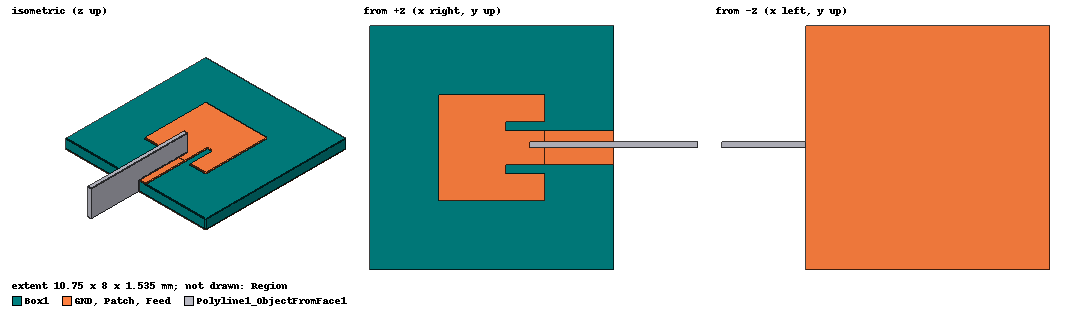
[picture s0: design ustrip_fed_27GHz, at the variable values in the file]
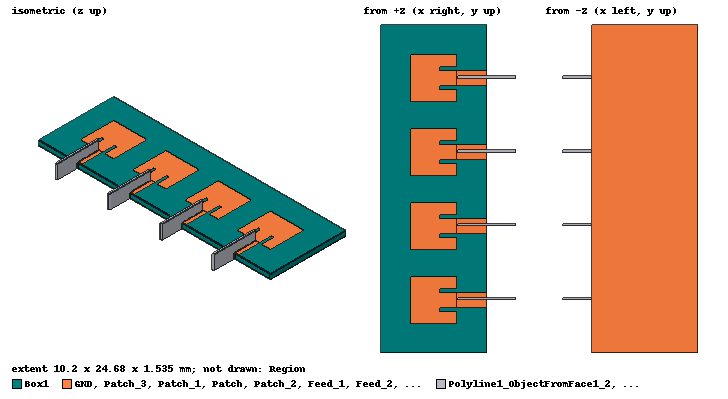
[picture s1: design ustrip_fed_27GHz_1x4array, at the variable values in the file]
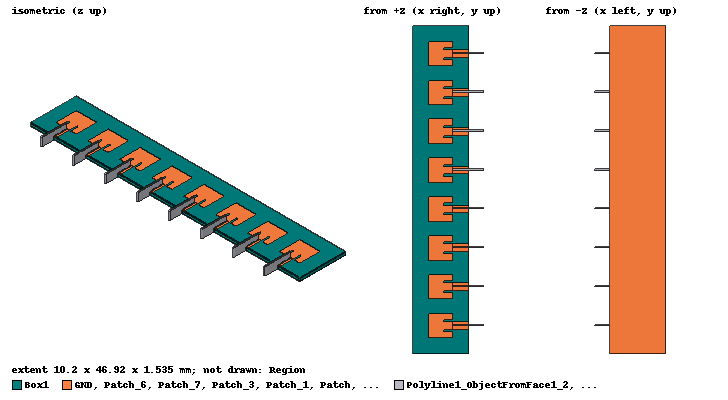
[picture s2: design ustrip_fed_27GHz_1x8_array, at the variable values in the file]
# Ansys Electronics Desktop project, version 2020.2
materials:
  vacuum: permittivity=1
  Rogers RO3003 (tm): permittivity=3 dielectric_loss_tangent=0.0013
  copper: permeability=0.999991 conductivity=58000000
  pec: conductivity=1e+30
  Teflon (tm): permittivity=2.1 dielectric_loss_tangent=0.001
  Rogers RT/duroid 5870 (tm): permittivity=2.33 dielectric_loss_tangent=0.0012

design ustrip_fed_27GHz (HFSS, DrivenModal, model units mm)
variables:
  sub = 8mm
  sub_h = 0.508mm
  patch_x = 3.5mm
  patch_y = 3.5mm
  feed_w = 1.1mm
  slot_x = 1.3mm
  slot_y = 0.3mm
  metal_thickness = 35um
  port_w = feed_w*5
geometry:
  Box1 [Rogers RT/duroid 5870 (tm)] = box(corner=(-sub/2, -sub/2, 0mm), size=(sub, sub, sub_h))
  Patch [copper] = rectangle(corner=(-patch_x/2, -patch_y/2, sub_h), x_size=patch_x, y_size=patch_y)
  Patch.thicken(0.035mm)
  Feed [copper] = polyline((sub/2, 0mm, sub_h) (patch_x/2, 0mm, sub_h), section line width=feed_w)
  Feed.thicken(-0.035mm)
  GND [copper] = box(corner=(-sub/2, -sub/2, 0mm), size=(sub, sub, -0.035mm))
  slot1 = box(corner=(patch_x/2, feed_w/2, sub_h), size=(-slot_x, slot_y, metal_thickness))
  slot2 = box(corner=(patch_x/2, -feed_w/2, sub_h), size=(-slot_x, -slot_y, metal_thickness))
  Patch.subtract(slot1, slot2)
  Polyline1 = polyline((sub/2, 0mm, 0mm) (sub/2, 0mm, 1.5mm), section line width=port_w)
  Region [vacuum] = region(absolute_offset: +X=8mm, -X=8mm, +Y=8mm, -Y=8mm, +Z=8mm, -Z=2mm)
  Polyline1_ObjectFromFace1 [pec] = object_from(Polyline1.face)
  Polyline1_ObjectFromFace1.thicken(-0.2mm)
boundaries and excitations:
  Rad1: Radiation Objects=Region
  1: Wave Port Faces=Polyline1.face NumModes=1 Modes{Mode1{IntLine{middle of Polyline1.edge(at (4, 0, 0)) -> middle of Feed.edge(at (4, 0, 0.543))} CharImp=Zpi}}
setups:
  Setup1: HfssDriven Frequency=27GHz MaxDeltaS=0.015 MaximumPasses=8 MinimumPasses=1 MinimumConvergedPasses=1 PercentRefinement=30 BasisOrder=1 PortAccuracy=2
    sweep Sweep: 24GHz to 30GHz, 251 points; Type=Fast SaveFields
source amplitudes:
  1:1: 1W 0deg
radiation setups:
  Infinite Sphere1: Infinite Sphere Theta=-180deg..180deg step 2deg Phi=-180deg..180deg step 2deg
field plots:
  Mag_Jsurf1: Jsurf over Feed.face(all 6) on Setup1 : LastAdaptive at Freq=27GHz Phase=0deg
  Mag_Jsurf2: Jsurf over Feed.face(at (2.875, 0, 0.543)) Patch.face(at (0, 0, 0.543)) on Setup1 : LastAdaptive at Freq=27GHz Phase=0deg
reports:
  S Parameter Plot 1: dB(S(1,1)) vs Freq on Setup1 : Sweep; markers MX1 at x=2.6417598e+10, MX2 at x=2.7360335e+10
  Gain Plot 1: dB(GainTotal) vs Phi, Theta on Setup1 : LastAdaptive, Infinite Sphere1 [Freq=27GHz]
  Gain Plot 3: dB(GainTotal) vs Theta on Setup1 : LastAdaptive, Infinite Sphere1 [Phi=0deg Freq=27GHz]; dB(GainTotal) vs Theta on Setup1 : LastAdaptive, Infinite Sphere1 [Phi=90deg Freq=27GHz]; markers m1 at 0deg

design ustrip_fed_27GHz_1x4array (HFSS, DrivenModal, model units mm)
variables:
  sub = 8mm
  sub_h = 0.508mm
  patch_x = 3.5mm
  patch_y = 3.5mm
  feed_w = 1.1mm
  slot_x = 1.3mm
  slot_y = 0.3mm
  metal_thickness = 35um
  port_w = feed_w*4
  spacing = 5.56mm
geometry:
  Box1 [Rogers RT/duroid 5870 (tm)] = box(corner=(-sub/2, -sub/2, 0mm), size=(sub, sub, sub_h))
  Patch [copper] = rectangle(corner=(-patch_x/2, -patch_y/2, sub_h), x_size=patch_x, y_size=patch_y)
  Patch.thicken(0.035mm)
  Feed [copper] = polyline((sub/2, 0mm, sub_h) (patch_x/2, 0mm, sub_h), section line width=feed_w)
  Feed.thicken(-0.035mm)
  GND [copper] = box(corner=(-sub/2, -sub/2, 0mm), size=(sub, sub, -0.035mm))
  slot1 = box(corner=(patch_x/2, feed_w/2, sub_h), size=(-slot_x, slot_y, metal_thickness))
  slot2 = box(corner=(patch_x/2, -feed_w/2, sub_h), size=(-slot_x, -slot_y, metal_thickness))
  Patch.subtract(slot1, slot2)
  Polyline1 = polyline((sub/2, 0mm, 0mm) (sub/2, 0mm, 1.5mm), section line width=port_w)
  Region [vacuum] = region(absolute_offset: +X=8mm, -X=8mm, +Y=8mm, -Y=8mm, +Z=8mm, -Z=2mm)
  Polyline1_ObjectFromFace1 [pec] = object_from(Polyline1.face(at (4, 0, 0.75)))
  Polyline1_ObjectFromFace1.thicken(-0.2mm)
  Box1_1, Box1_2, Box1_3 = Box1.duplicate_along_line(step=(0mm, spacing, 0mm), total=4)
  Patch_1, Patch_2, Patch_3 [copper] = Patch.duplicate_along_line(step=(0mm, spacing, 0mm), total=4)
  Feed_1, Feed_2, Feed_3 [copper] = Feed.duplicate_along_line(step=(0mm, spacing, 0mm), total=4)
  GND_1, GND_2, GND_3 = GND.duplicate_along_line(step=(0mm, spacing, 0mm), total=4)
  Polyline1_1, Polyline1_2, Polyline1_3 = Polyline1.duplicate_along_line(step=(0mm, spacing, 0mm), total=4)
  Polyline1_ObjectFromFace1_1, Polyline1_ObjectFromFace1_2, Polyline1_ObjectFromFace1_3 [pec] = Polyline1_ObjectFromFace1.duplicate_along_line(step=(0mm, spacing, 0mm), total=4)
  Box1.unite(Box1_1, Box1_2, Box1_3)
  GND.unite(GND_1, GND_2, GND_3)
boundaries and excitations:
  Rad1: Radiation Objects=Region
  1: Wave Port Faces=Polyline1.face(at (4, 0, 0.75)) NumModes=1 Modes{Mode1{IntLine{middle of Polyline1.edge(at (4, 0, 0)) -> middle of Feed.edge(at (4, 0, 0.543))} CharImp=Zpi}}
  2: Wave Port Faces=Polyline1_ObjectFromFace1_1.face(2 of 6) NumModes=1 Modes{Mode1{IntLine{middle of Polyline1_ObjectFromFace1_1.edge(7 of 12) -> middle of Feed_1.edge(3 of 12)} CharImp=Zpi}}
  3: Wave Port Faces=Polyline1_ObjectFromFace1_2.face(2 of 6) NumModes=1 Modes{Mode1{IntLine{middle of Polyline1_ObjectFromFace1_2.edge(7 of 12) -> middle of Feed_2.edge(3 of 12)} CharImp=Zpi}}
  4: Wave Port Faces=Polyline1_ObjectFromFace1_3.face(2 of 6) NumModes=1 Modes{Mode1{IntLine{middle of Polyline1_ObjectFromFace1_3.edge(7 of 12) -> middle of Feed_3.edge(3 of 12)} CharImp=Zpi}}
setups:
  Setup1: HfssDriven Frequency=27GHz MaxDeltaS=0.015 MaximumPasses=8 MinimumPasses=1 MinimumConvergedPasses=1 PercentRefinement=30 BasisOrder=1 PortAccuracy=2
    sweep Sweep: 24GHz to 30GHz, 251 points; Type=Fast SaveFields
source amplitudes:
  1:1, 2:1, 3:1, 4:1: 1W 0deg
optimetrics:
  ParametricSetup1: Parametric Sim._Setups=[Setup1]
    sweep spacing: LIN 5.56mm 5.96mm 0.2mm
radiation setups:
  Infinite Sphere1: Infinite Sphere Theta=-180deg..180deg step 2deg Phi=-180deg..180deg step 2deg
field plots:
  Mag_Jsurf1: Jsurf over Feed.face(all 6) on Setup1 : LastAdaptive at Freq=27GHz Phase=0deg
  Mag_Jsurf2: Jsurf over Feed.face(at (2.875, 0, 0.543)) Patch.face(at (0, 0, 0.543)) on Setup1 : LastAdaptive at Freq=27GHz Phase=0deg
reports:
  Reflection: dB(S(1,1)), dB(S(2,2)), dB(S(3,3)), dB(S(4,4)) vs Freq on Setup1 : Sweep; markers m1 at 26.88GHz
  Transmission: dB(S(1,1)), dB(S(2,1)), dB(S(3,1)), dB(S(4,1)), dB(S(3,2)), dB(S(4,2)) vs Freq on Setup1 : Sweep
  Gain Plot 1: dB(GainTotal) vs Phi, Theta on Setup1 : LastAdaptive, Infinite Sphere1 [Freq=27GHz]
  Gain Plot 2: dB(GainTotal) vs Theta on Setup1 : LastAdaptive, Infinite Sphere1 [Phi=90deg Freq=27GHz]; markers m1 at 0deg

design ustrip_fed_27GHz_1x8_array (HFSS, DrivenModal, model units mm)
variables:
  sub = 8mm
  sub_h = 0.508mm
  patch_x = 3.5mm
  patch_y = 3.5mm
  feed_w = 1.1mm
  slot_x = 1.3mm
  slot_y = 0.3mm
  metal_thickness = 35um
  port_w = feed_w*4
  spacing = 5.56mm
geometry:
  Box1 [Rogers RT/duroid 5870 (tm)] = box(corner=(-sub/2, -sub/2, 0mm), size=(sub, sub, sub_h))
  Patch [copper] = rectangle(corner=(-patch_x/2, -patch_y/2, sub_h), x_size=patch_x, y_size=patch_y)
  Patch.thicken(0.035mm)
  Feed [copper] = polyline((sub/2, 0mm, sub_h) (patch_x/2, 0mm, sub_h), section line width=feed_w)
  Feed.thicken(-0.035mm)
  GND [copper] = box(corner=(-sub/2, -sub/2, 0mm), size=(sub, sub, -0.035mm))
  slot1 = box(corner=(patch_x/2, feed_w/2, sub_h), size=(-slot_x, slot_y, metal_thickness))
  slot2 = box(corner=(patch_x/2, -feed_w/2, sub_h), size=(-slot_x, -slot_y, metal_thickness))
  Patch.subtract(slot1, slot2)
  Polyline1 = polyline((sub/2, 0mm, 0mm) (sub/2, 0mm, 1.5mm), section line width=port_w)
  Region [vacuum] = region(absolute_offset: +X=8mm, -X=8mm, +Y=8mm, -Y=8mm, +Z=20mm, -Z=2mm)
  Polyline1_ObjectFromFace1 [pec] = object_from(Polyline1.face(at (4, 0, 0.75)))
  Polyline1_ObjectFromFace1.thicken(-0.2mm)
  Box1_1..Box1_7 = Box1.duplicate_along_line(step=(0mm, spacing, 0mm), total=8)
  Patch_1..Patch_7 [copper] = Patch.duplicate_along_line(step=(0mm, spacing, 0mm), total=8)
  Feed_1..Feed_7 [copper] = Feed.duplicate_along_line(step=(0mm, spacing, 0mm), total=8)
  GND_1..GND_7 = GND.duplicate_along_line(step=(0mm, spacing, 0mm), total=8)
  Polyline1_1..Polyline1_7 = Polyline1.duplicate_along_line(step=(0mm, spacing, 0mm), total=8)
  Polyline1_ObjectFromFace1_1..Polyline1_ObjectFromFace1_7 [pec] = Polyline1_ObjectFromFace1.duplicate_along_line(step=(0mm, spacing, 0mm), total=8)
  GND.unite(GND_1..GND_7)
  Box1.unite(Box1_1..Box1_7)
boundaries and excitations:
  Rad1: Radiation Objects=Region
  1: Wave Port Faces=Polyline1.face(at (4, 0, 0.75)) NumModes=1 Modes{Mode1{IntLine{middle of Polyline1.edge(at (4, 0, 0)) -> middle of Feed.edge(at (4, 0, 0.543))} CharImp=Zpi}}
  2: Wave Port Faces=Polyline1_ObjectFromFace1_1.face(2 of 6) NumModes=1 Modes{Mode1{IntLine{middle of Polyline1_ObjectFromFace1_1.edge(7 of 12) -> middle of Feed_1.edge(3 of 12)} CharImp=Zpi}}
  3: Wave Port Faces=Polyline1_ObjectFromFace1_2.face(2 of 6) NumModes=1 Modes{Mode1{IntLine{middle of Polyline1_ObjectFromFace1_2.edge(7 of 12) -> middle of Feed_2.edge(3 of 12)} CharImp=Zpi}}
  4: Wave Port Faces=Polyline1_ObjectFromFace1_3.face(2 of 6) NumModes=1 Modes{Mode1{IntLine{middle of Polyline1_ObjectFromFace1_3.edge(7 of 12) -> middle of Feed_3.edge(3 of 12)} CharImp=Zpi}}
  5: Wave Port Faces=Polyline1_ObjectFromFace1_4.face(2 of 6) NumModes=1 Modes{Mode1{IntLine{middle of Polyline1_ObjectFromFace1_4.edge(7 of 12) -> middle of Feed_4.edge(3 of 12)} CharImp=Zpi}}
  6: Wave Port Faces=Polyline1_ObjectFromFace1_5.face(2 of 6) NumModes=1 Modes{Mode1{IntLine{middle of Polyline1_ObjectFromFace1_5.edge(7 of 12) -> middle of Feed_5.edge(3 of 12)} CharImp=Zpi}}
  7: Wave Port Faces=Polyline1_ObjectFromFace1_6.face(2 of 6) NumModes=1 Modes{Mode1{IntLine{middle of Polyline1_ObjectFromFace1_6.edge(7 of 12) -> middle of Feed_6.edge(3 of 12)} CharImp=Zpi}}
  8: Wave Port Faces=Polyline1_ObjectFromFace1_7.face(2 of 6) NumModes=1 Modes{Mode1{IntLine{middle of Polyline1_ObjectFromFace1_7.edge(7 of 12) -> middle of Feed_7.edge(3 of 12)} CharImp=Zpi}}
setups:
  Setup1: HfssDriven Frequency=27GHz MaxDeltaS=0.015 MaximumPasses=8 MinimumPasses=1 MinimumConvergedPasses=1 PercentRefinement=30 BasisOrder=1 PortAccuracy=2
    sweep Sweep: 24GHz to 30GHz, 251 points; Type=Fast SaveFields
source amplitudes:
  1:1, 2:1, 3:1, 4:1, 5:1, 6:1, 7:1, 8:1: 1W 0deg
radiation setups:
  Infinite Sphere1: Infinite Sphere Theta=-180deg..180deg step 2deg Phi=-180deg..180deg step 2deg
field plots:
  Mag_Jsurf1: Jsurf over Feed.face(all 6) on Setup1 : LastAdaptive at Freq=27GHz Phase=0deg
  Mag_Jsurf2: Jsurf over Feed.face(at (2.875, 0, 0.543)) Patch.face(at (0, 0, 0.543)) on Setup1 : LastAdaptive at Freq=27GHz Phase=0deg
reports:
  S Parameter Plot 1: dB(S(1,1)) vs Freq on Setup1 : Sweep; markers MX1 at x=2.6417598e+10, MX2 at x=2.7360335e+10
  Gain Plot 1: dB(GainTotal) vs Phi, Theta on Setup1 : LastAdaptive, Infinite Sphere1 [Freq=27GHz]
  Gain Plot 3: dB(GainTotal) vs Theta on Setup1 : LastAdaptive, Infinite Sphere1 [Phi=0deg Freq=27GHz]; dB(GainTotal) vs Theta on Setup1 : LastAdaptive, Infinite Sphere1 [Phi=90deg Freq=27GHz]; markers m1 at 0deg
